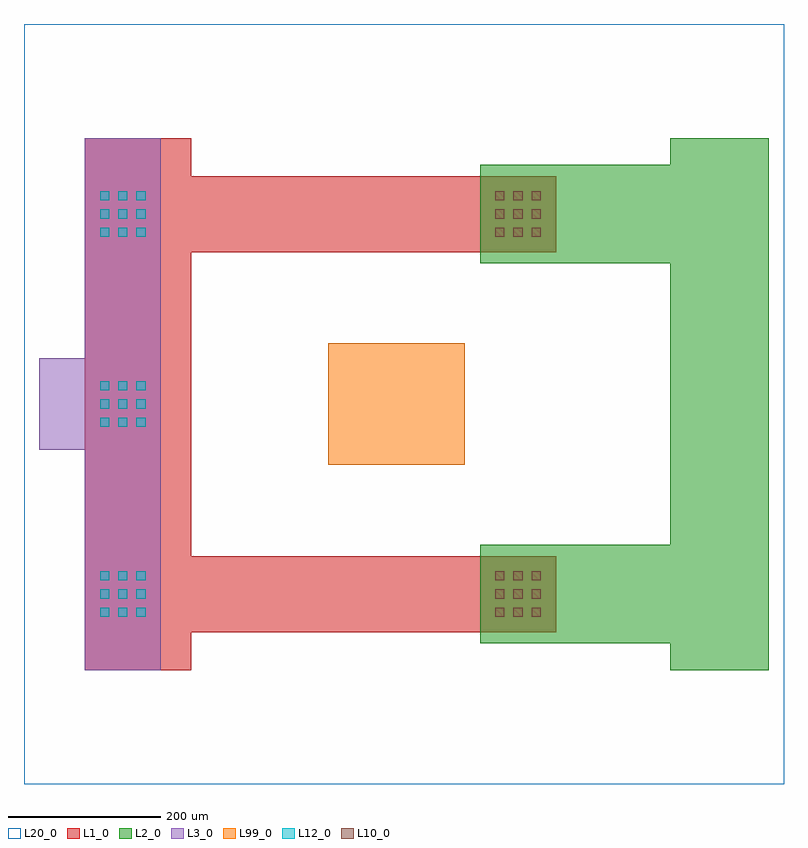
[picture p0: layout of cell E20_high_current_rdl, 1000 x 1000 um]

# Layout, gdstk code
import gdstk
lib = gdstk.Library(unit=1e-6, precision=1e-09)
def R(c, l, rs):  # rectangles x0, y0, x1, y1
    for r in rs: c.add(gdstk.rectangle(r[:2], r[2:], *l))
L1_0 = (1, 0)
L2_0 = (2, 0)
L3_0 = (3, 0)
L10_0 = (10, 0)
L12_0 = (12, 0)
L20_0 = (20, 0)
L99_0 = (99, 0)

rdl_via_12 = lib.new_cell('RDL_VIA_12')
R(rdl_via_12, L12_0, [(-6,-6,6,6)])

rdl_via_10 = lib.new_cell('RDL_VIA_10')
R(rdl_via_10, L10_0, [(-6,-6,6,6)])

e20_high_current_rdl = lib.new_cell('E20_high_current_rdl')
R(e20_high_current_rdl, L1_0, [(80,150,220,850), (180,200,700,300), (180,700,700,800)])
R(e20_high_current_rdl, L2_0, [(850,150,980,850), (600,185,910,315), (600,685,910,815)])
R(e20_high_current_rdl, L3_0, [(80,150,180,850), (20,440,180,560)])
R(e20_high_current_rdl, L20_0, [(0,0,1000,1000)])
R(e20_high_current_rdl, L99_0, [(400,420,580,580)])
e20_high_current_rdl.add(gdstk.Reference(rdl_via_12, (106,226)))
e20_high_current_rdl.add(gdstk.Reference(rdl_via_12, (130,226)))
e20_high_current_rdl.add(gdstk.Reference(rdl_via_12, (154,226)))
e20_high_current_rdl.add(gdstk.Reference(rdl_via_12, (106,250)))
e20_high_current_rdl.add(gdstk.Reference(rdl_via_12, (130,250)))
e20_high_current_rdl.add(gdstk.Reference(rdl_via_12, (154,250)))
e20_high_current_rdl.add(gdstk.Reference(rdl_via_12, (106,274)))
e20_high_current_rdl.add(gdstk.Reference(rdl_via_12, (130,274)))
e20_high_current_rdl.add(gdstk.Reference(rdl_via_12, (154,274)))
e20_high_current_rdl.add(gdstk.Reference(rdl_via_12, (106,476)))
e20_high_current_rdl.add(gdstk.Reference(rdl_via_12, (130,476)))
e20_high_current_rdl.add(gdstk.Reference(rdl_via_12, (154,476)))
e20_high_current_rdl.add(gdstk.Reference(rdl_via_12, (106,500)))
e20_high_current_rdl.add(gdstk.Reference(rdl_via_12, (130,500)))
e20_high_current_rdl.add(gdstk.Reference(rdl_via_12, (154,500)))
e20_high_current_rdl.add(gdstk.Reference(rdl_via_12, (106,524)))
e20_high_current_rdl.add(gdstk.Reference(rdl_via_12, (130,524)))
e20_high_current_rdl.add(gdstk.Reference(rdl_via_12, (154,524)))
e20_high_current_rdl.add(gdstk.Reference(rdl_via_12, (106,726)))
e20_high_current_rdl.add(gdstk.Reference(rdl_via_12, (130,726)))
e20_high_current_rdl.add(gdstk.Reference(rdl_via_12, (154,726)))
e20_high_current_rdl.add(gdstk.Reference(rdl_via_12, (106,750)))
e20_high_current_rdl.add(gdstk.Reference(rdl_via_12, (130,750)))
e20_high_current_rdl.add(gdstk.Reference(rdl_via_12, (154,750)))
e20_high_current_rdl.add(gdstk.Reference(rdl_via_12, (106,774)))
e20_high_current_rdl.add(gdstk.Reference(rdl_via_12, (130,774)))
e20_high_current_rdl.add(gdstk.Reference(rdl_via_12, (154,774)))
e20_high_current_rdl.add(gdstk.Reference(rdl_via_10, (626,226)))
e20_high_current_rdl.add(gdstk.Reference(rdl_via_10, (650,226)))
e20_high_current_rdl.add(gdstk.Reference(rdl_via_10, (674,226)))
e20_high_current_rdl.add(gdstk.Reference(rdl_via_10, (626,250)))
e20_high_current_rdl.add(gdstk.Reference(rdl_via_10, (650,250)))
e20_high_current_rdl.add(gdstk.Reference(rdl_via_10, (674,250)))
e20_high_current_rdl.add(gdstk.Reference(rdl_via_10, (626,274)))
e20_high_current_rdl.add(gdstk.Reference(rdl_via_10, (650,274)))
e20_high_current_rdl.add(gdstk.Reference(rdl_via_10, (674,274)))
e20_high_current_rdl.add(gdstk.Reference(rdl_via_10, (626,726)))
e20_high_current_rdl.add(gdstk.Reference(rdl_via_10, (650,726)))
e20_high_current_rdl.add(gdstk.Reference(rdl_via_10, (674,726)))
e20_high_current_rdl.add(gdstk.Reference(rdl_via_10, (626,750)))
e20_high_current_rdl.add(gdstk.Reference(rdl_via_10, (650,750)))
e20_high_current_rdl.add(gdstk.Reference(rdl_via_10, (674,750)))
e20_high_current_rdl.add(gdstk.Reference(rdl_via_10, (626,774)))
e20_high_current_rdl.add(gdstk.Reference(rdl_via_10, (650,774)))
e20_high_current_rdl.add(gdstk.Reference(rdl_via_10, (674,774)))

lib.write_gds('E20_high_current_rdl.gds')
